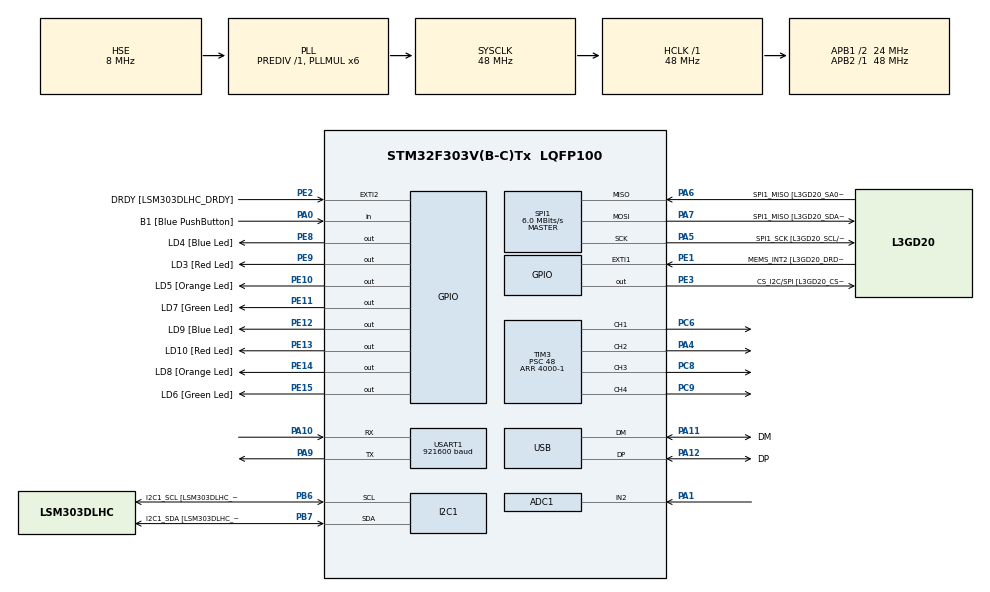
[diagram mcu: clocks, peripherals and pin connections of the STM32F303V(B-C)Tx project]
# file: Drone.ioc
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ADC1.Channel-0\#ChannelRegularConversion=ADC_CHANNEL_2
ADC1.ClockPrescaler=ADC_CLOCK_ASYNC_DIV1
ADC1.ContinuousConvMode=DISABLE
ADC1.NbrOfConversion=1
ADC1.NbrOfConversionFlag=1
ADC1.Offset-0\#ChannelRegularConversion=0
ADC1.OffsetNumber-0\#ChannelRegularConversion=ADC_OFFSET_NONE
ADC1.Rank-0\#ChannelRegularConversion=1
ADC1.Resolution=ADC_RESOLUTION_10B
ADC1.SamplingTime-0\#ChannelRegularConversion=ADC_SAMPLETIME_19CYCLES_5
ADC1.master=1
I2C1.Timing-I2C=0x2000090E
Mcu.Family=STM32F3
Mcu.Name=STM32F303V(B-C)Tx
Mcu.Package=LQFP100
NVIC.PriorityGroup=NVIC_PRIORITYGROUP_0
PA0.GPIO_Label=B1 [Blue PushButton]
PA0.Signal=GPIO_Input
PA1.Mode=IN2-Single-Ended
PA1.Signal=ADC1_IN2
PA10.Mode=Asynchronous
PA10.Signal=USART1_RX
PA11.GPIO_Label=DM
PA11.Mode=Device
PA11.Signal=USB_DM
PA12.GPIO_Label=DP
PA12.Mode=Device
PA12.Signal=USB_DP
PA13.GPIO_Label=SWDIO
PA13.Signal=SYS_JTMS-SWDIO
PA14.GPIO_Label=SWCLK
PA14.Signal=SYS_JTCK-SWCLK
PA4.Signal=S_TIM3_CH2
PA5.GPIO_Label=SPI1_SCK [L3GD20_SCL/SPC]
PA5.Mode=Full_Duplex_Master
PA5.Signal=SPI1_SCK
PA6.GPIO_Label=SPI1_MISO [L3GD20_SA0/SDO]
PA6.Mode=Full_Duplex_Master
PA6.Signal=SPI1_MISO
PA7.GPIO_Label=SPI1_MISO [L3GD20_SDA/SDI/SDO]
PA7.Mode=Full_Duplex_Master
PA7.Signal=SPI1_MOSI
PA9.Mode=Asynchronous
PA9.Signal=USART1_TX
PB3.GPIO_Label=SWO
PB3.Signal=SYS_JTDO-TRACESWO
PB6.GPIO_Label=I2C1_SCL [LSM303DLHC_SCL]
PB6.Mode=I2C
PB6.Signal=I2C1_SCL
PB7.GPIO_Label=I2C1_SDA [LSM303DLHC_SDA]
PB7.Mode=I2C
PB7.Signal=I2C1_SDA
PC14-OSC32_IN.GPIO_Label=OSC32_IN
PC14-OSC32_IN.Signal=RCC_OSC32_IN
PC15-OSC32_OUT.GPIO_Label=OSC32_OUT
PC15-OSC32_OUT.Signal=RCC_OSC32_OUT
PC6.Signal=S_TIM3_CH1
PC8.Signal=S_TIM3_CH3
PC9.Signal=S_TIM3_CH4
PE1.GPIO_Label=MEMS_INT2 [L3GD20_DRDY/INT2]
PE1.GPIO_ModeDefaultEXTI=GPIO_MODE_EVT_RISING
PE1.Signal=GPXTI1
PE10.GPIO_Label=LD5 [Orange Led]
PE10.Signal=GPIO_Output
PE11.GPIO_Label=LD7 [Green Led]
PE11.Signal=GPIO_Output
PE12.GPIO_Label=LD9 [Blue Led]
PE12.Signal=GPIO_Output
PE13.GPIO_Label=LD10 [Red Led]
PE13.Signal=GPIO_Output
PE14.GPIO_Label=LD8 [Orange Led]
PE14.Signal=GPIO_Output
PE15.GPIO_Label=LD6 [Green Led]
PE15.Signal=GPIO_Output
PE2.GPIO_Label=DRDY [LSM303DLHC_DRDY]
PE2.GPIO_ModeDefaultEXTI=GPIO_MODE_EVT_RISING
PE2.Signal=GPXTI2
PE3.GPIO_Label=CS_I2C/SPI [L3GD20_CS_I2C/SPI]
PE3.Signal=GPIO_Output
PE8.GPIO_Label=LD4 [Blue Led]
PE8.Signal=GPIO_Output
PE9.GPIO_Label=LD3 [Red Led]
PE9.Signal=GPIO_Output
PF0-OSC_IN.GPIO_Label=OSC_IN
PF0-OSC_IN.Mode=HSE-External-Clock-Source
PF0-OSC_IN.Signal=RCC_OSC_IN
PF1-OSC_OUT.GPIO_Label=OSC_OUT
PF1-OSC_OUT.Signal=RCC_OSC_OUT
ProjectManager.HeapSize=0x200
ProjectManager.StackSize=0x400
ProjectManager.TargetToolchain=STM32CubeIDE
RCC.AHBFreq_Value=48000000
RCC.APB1CLKDivider=RCC_HCLK_DIV2
RCC.APB1Freq_Value=24000000
RCC.APB1TimFreq_Value=48000000
RCC.APB2Freq_Value=48000000
RCC.APB2TimFreq_Value=48000000
RCC.CortexFreq_Value=48000000
RCC.HCLKFreq_Value=48000000
RCC.HSE_VALUE=8000000
RCC.HSI_VALUE=8000000
RCC.LSE_VALUE=32768
RCC.PLLMUL=RCC_PLL_MUL6
RCC.SYSCLKFreq_VALUE=48000000
RCC.SYSCLKSourceVirtual=RCC_SYSCLKSOURCE_PLLCLK
RCC.USBFreq_Value=48000000
SH.S_TIM3_CH1.0=TIM3_CH1,PWM Generation1 CH1
SH.S_TIM3_CH2.0=TIM3_CH2,PWM Generation2 CH2
SH.S_TIM3_CH3.0=TIM3_CH3,PWM Generation3 CH3
SH.S_TIM3_CH4.0=TIM3_CH4,PWM Generation4 CH4
SPI1.BaudRatePrescaler=SPI_BAUDRATEPRESCALER_8
SPI1.CalculateBaudRate=6.0 MBits/s
SPI1.DataSize=SPI_DATASIZE_8BIT
SPI1.Direction=SPI_DIRECTION_2LINES
SPI1.FirstBit=SPI_FIRSTBIT_MSB
SPI1.Mode=SPI_MODE_MASTER
SPI1.VirtualType=VM_MASTER
TIM3.Channel-PWM\ Generation1\ CH1=TIM_CHANNEL_1
TIM3.Channel-PWM\ Generation2\ CH2=TIM_CHANNEL_2
TIM3.Channel-PWM\ Generation3\ CH3=TIM_CHANNEL_3
TIM3.Channel-PWM\ Generation4\ CH4=TIM_CHANNEL_4
TIM3.Period=4000-1
TIM3.Prescaler=48
USART1.BaudRate=921600
USART1.VirtualMode-Asynchronous=VM_ASYNC
VP_TIM3_VS_ClockSourceINT.Mode=Internal
board=STM32F3DISCOVERY

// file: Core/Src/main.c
/* USER CODE BEGIN Header */
/**
  ******************************************************************************
  * @file           : main.c
  * @brief          : Main program body
  ******************************************************************************
  * @attention
  *
  * <h2><center>&copy; Copyright (c) 2020 STMicroelectronics.
  * All rights reserved.</center></h2>
  *
  * This software component is licensed by ST under BSD 3-Clause license,
  * the "License"; You may not use this file except in compliance with the
  * License. You may obtain a copy of the License at:
  *                        opensource.org/licenses/BSD-3-Clause
  *
  ******************************************************************************
  */
/* USER CODE END Header */

#include "main.h"
#include "adc.h"
#include "i2c.h"
#include "spi.h"
#include "tim.h"
#include "usart.h"
#include "usb.h"
#include "gpio.h"

/* USER CODE BEGIN Includes */
#include <stdio.h>
#include <math.h>
#include "sensors.h"
#include "controller.h"
#include "BatteryVoltage.h"
/* USER CODE END Includes */

void SystemClock_Config(void);

int main(void)
{
  /* USER CODE BEGIN 1 */
	float eulerAngles[3] = {0};
	float setpoint[3] = {0};
	int32_t motorSignal[4] = {0};
	float voltage = 0;

	uint32_t refresh_rate = 0;

  /* USER CODE END 1 */

  /* MCU Configuration--------------------------------------------------------*/

  /* Reset of all peripherals, Initializes the Flash interface and the Systick. */
  HAL_Init();

  /* Configure the system clock */
  SystemClock_Config();

  /* Initialize all configured peripherals */
  MX_GPIO_Init();
  MX_I2C1_Init();
  MX_SPI1_Init();
  MX_USB_PCD_Init();
  MX_TIM3_Init();
  MX_ADC1_Init();
  MX_USART1_UART_Init();
  /* USER CODE BEGIN 2 */

  //setvbuf(stdin,NULL,_IONBF,0);//add newlib_stubs.c from ahbi git
  //setvbuf(stdout,NULL,_IONBF,0);
  //printf("Hello World!!\r\n");
  //printf("pitch\t\troll\t\tyaw\r\n");

  InitBatteryADC();

  MotorInit();

  HAL_Delay(10000);

  IMU_Init();

  refresh_rate = HAL_GetTick();

  /* USER CODE END 2 */

  /* Infinite loop */
  while (1)
  {

    /* USER CODE BEGIN 3 */

    while(HAL_GetTick() < (refresh_rate + 4)){}
    refresh_rate = HAL_GetTick();

    MadgwickAHRS(eulerAngles);

    BatteryVoltage(&voltage);

    MotorCommand(eulerAngles,setpoint,motorSignal);

    //printf("%5.2f\t\t\r\n", voltage);
    //printf("%i\t\t%i\t\t%i\t\t%i\r\n", motorSignal[0],motorSignal[1],motorSignal[2],motorSignal[3]);

  }
  /* USER CODE END 3 */
}

void SystemClock_Config(void)
{
  RCC_OscInitTypeDef RCC_OscInitStruct = {0};
  RCC_ClkInitTypeDef RCC_ClkInitStruct = {0};
  RCC_PeriphCLKInitTypeDef PeriphClkInit = {0};

  /** Initializes the CPU, AHB and APB busses clocks
  */
  RCC_OscInitStruct.OscillatorType = RCC_OSCILLATORTYPE_HSI|RCC_OSCILLATORTYPE_HSE;
  RCC_OscInitStruct.HSEState = RCC_HSE_BYPASS;
  RCC_OscInitStruct.HSEPredivValue = RCC_HSE_PREDIV_DIV1;
  RCC_OscInitStruct.HSIState = RCC_HSI_ON;
  RCC_OscInitStruct.HSICalibrationValue = RCC_HSICALIBRATION_DEFAULT;
  RCC_OscInitStruct.PLL.PLLState = RCC_PLL_ON;
  RCC_OscInitStruct.PLL.PLLSource = RCC_PLLSOURCE_HSE;
  RCC_OscInitStruct.PLL.PLLMUL = RCC_PLL_MUL6;
  if (HAL_RCC_OscConfig(&RCC_OscInitStruct) != HAL_OK)
  {
    Error_Handler();
  }
  /** Initializes the CPU, AHB and APB busses clocks
  */
  RCC_ClkInitStruct.ClockType = RCC_CLOCKTYPE_HCLK|RCC_CLOCKTYPE_SYSCLK
                              |RCC_CLOCKTYPE_PCLK1|RCC_CLOCKTYPE_PCLK2;
  RCC_ClkInitStruct.SYSCLKSource = RCC_SYSCLKSOURCE_PLLCLK;
  RCC_ClkInitStruct.AHBCLKDivider = RCC_SYSCLK_DIV1;
  RCC_ClkInitStruct.APB1CLKDivider = RCC_HCLK_DIV2;
  RCC_ClkInitStruct.APB2CLKDivider = RCC_HCLK_DIV1;

  if (HAL_RCC_ClockConfig(&RCC_ClkInitStruct, FLASH_LATENCY_1) != HAL_OK)
  {
    Error_Handler();
  }
  PeriphClkInit.PeriphClockSelection = RCC_PERIPHCLK_USB|RCC_PERIPHCLK_USART1
                              |RCC_PERIPHCLK_I2C1|RCC_PERIPHCLK_ADC12;
  PeriphClkInit.Usart1ClockSelection = RCC_USART1CLKSOURCE_PCLK2;
  PeriphClkInit.Adc12ClockSelection = RCC_ADC12PLLCLK_DIV1;
  PeriphClkInit.I2c1ClockSelection = RCC_I2C1CLKSOURCE_HSI;
  PeriphClkInit.USBClockSelection = RCC_USBCLKSOURCE_PLL;
  if (HAL_RCCEx_PeriphCLKConfig(&PeriphClkInit) != HAL_OK)
  {
    Error_Handler();
  }
}

void Error_Handler(void)
{
}

/************************ (C) COPYRIGHT STMicroelectronics *****END OF FILE****/
